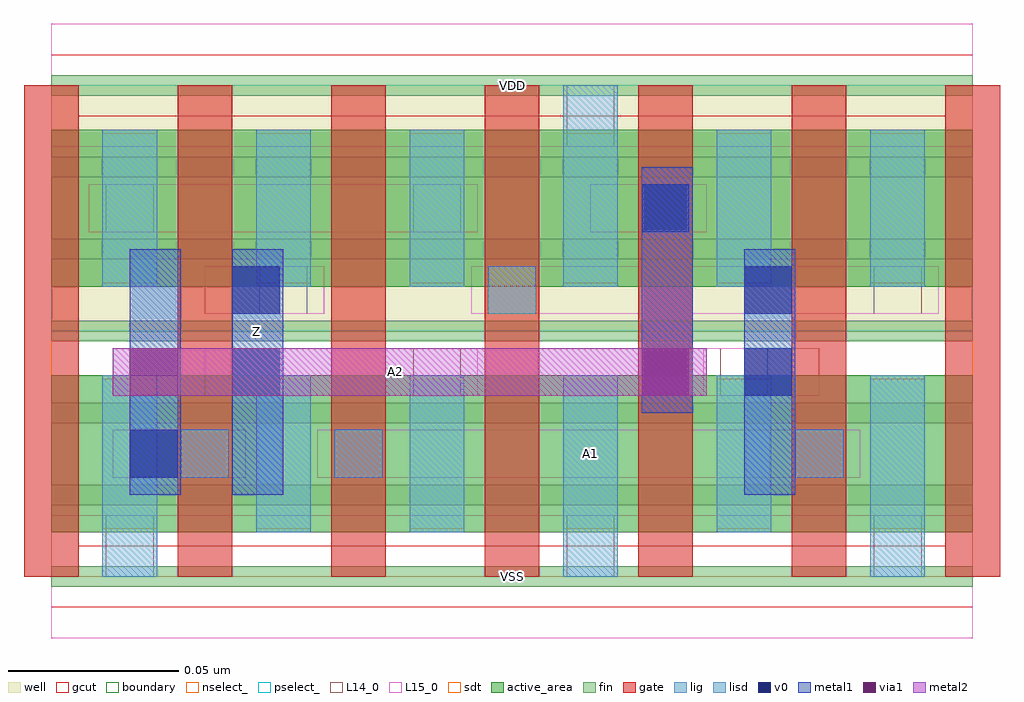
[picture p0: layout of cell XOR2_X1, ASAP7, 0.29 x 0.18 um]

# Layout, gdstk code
import gdstk
lib = gdstk.Library(unit=1e-6, precision=1e-09)
def R(c, l, rs):  # rectangles x0, y0, x1, y1
    for r in rs: c.add(gdstk.rectangle(r[:2], r[2:], *l))
def A(c, l, x, y, w, h, nx, ny, dx, dy):  # array of equal rectangles
    R(c, l, [(x+i*dx, y+j*dy, x+i*dx+w, y+j*dy+h) for i in range(nx) for j in range(ny)])
def P(c, l, *ps):  # polygons
    for p in ps: c.add(gdstk.Polygon(p, *l))
well = (1, 0)
fin = (2, 0)
gate = (7, 0)
gcut = (10, 0)
active_area = (11, 0)
nselect_ = (12, 0)
pselect_ = (13, 0)
L14_0 = (14, 0)
L15_0 = (15, 0)
lig = (16, 0)
lisd = (17, 0)
v0 = (18, 0)
metal1 = (19, 0)
metal2 = (20, 0)
via1 = (21, 0)
sdt = (88, 0)
boundary = (100, 0)

xor2_x1 = lib.new_cell('XOR2_X1')
R(xor2_x1, well, [(0,0.072,0.27,0.144)])
A(xor2_x1, fin, 0, -0.003, 0.27, 0.006, 1, 7, 0, 0.024)
A(xor2_x1, gate, -0.008, 0, 0.016, 0.144, 7, 1, 0.045, 0)
P(xor2_x1, gcut, [(0,-0.009),(0,0),(-0.008,0),(-0.008,0.135),(0.008,0.135),(0.008,0.009),(0.262,0.009),(0.262,0.135),(-0.008,0.135),(-0.008,0.144),(0,0.144),(0,0.153),(0.27,0.153),(0.27,0.144),(0.278,0.144),(0.278,0),(0.27,0),(0.27,-0.009)])
R(xor2_x1, active_area, [(0,0.013,0.27,0.059), (0,0.085,0.27,0.131)])
R(xor2_x1, nselect_, [(0,0,0.27,0.072)])
R(xor2_x1, pselect_, [(0,0.072,0.27,0.144)])
R(xor2_x1, L14_0, [(0.016,0,0.03,0.018), (0.151,0,0.165,0.018), (0.241,0,0.255,0.018), (0.038,0.029,0.052,0.043), (0.083,0.029,0.097,0.043), (0.218,0.029,0.232,0.043), (0.106,0.053,0.12,0.067), (0.196,0.053,0.21,0.067), (0.061,0.077,0.075,0.091), (0.128,0.077,0.142,0.091), (0.241,0.077,0.255,0.091), (0.016,0.101,0.03,0.115), (0.106,0.101,0.12,0.115), (0.173,0.101,0.187,0.115), (0.151,0.126,0.165,0.144)])
R(xor2_x1, L15_0, [(0,-0.018,0.27,0.018), (0.018,0.029,0.057,0.043), (0.078,0.029,0.237,0.043), (0.045,0.053,0.125,0.067), (0.191,0.053,0.225,0.067), (0.045,0.077,0.08,0.091), (0.123,0.077,0.26,0.091), (0.011,0.101,0.125,0.115), (0.158,0.101,0.192,0.115), (0,0.126,0.27,0.162)])
R(xor2_x1, lig, [(0.038,0.029,0.052,0.043), (0.083,0.029,0.097,0.043), (0.218,0.029,0.232,0.043), (0.128,0.077,0.142,0.091), (0.173,0.101,0.187,0.115)])
A(xor2_x1, lisd, 0.015, 0.085, 0.016, 0.046, 3, 1, 0.045, 0)
R(xor2_x1, lisd, [(0.015,0,0.031,0.059), (0.15,0,0.166,0.059), (0.24,0,0.256,0.059), (0.06,0.013,0.076,0.059), (0.105,0.013,0.121,0.059), (0.195,0.013,0.211,0.059), (0.15,0.085,0.166,0.144), (0.195,0.085,0.211,0.131), (0.24,0.085,0.256,0.131)])
R(xor2_x1, v0, [(0.023,0.029,0.037,0.043), (0.053,0.053,0.067,0.067), (0.203,0.053,0.217,0.067), (0.053,0.077,0.067,0.091), (0.203,0.077,0.217,0.091), (0.173,0.101,0.187,0.115)])
R(xor2_x1, metal1, [(0.023,0.024,0.038,0.096), (0.053,0.024,0.068,0.096), (0.203,0.024,0.218,0.096), (0.173,0.048,0.188,0.12)])
R(xor2_x1, metal2, [(0.018,0.053,0.192,0.067)])
R(xor2_x1, via1, [(0.023,0.053,0.037,0.067), (0.173,0.053,0.187,0.067)])
A(xor2_x1, sdt, 0.015, 0.014, 0.016, 0.044, 6, 2, 0.045, 0.072)
R(xor2_x1, boundary, [(0,0,0.27,0.144)])
xor2_x1.add(gdstk.Label('VSS', (0.135,0), layer=15, texttype=251))
xor2_x1.add(gdstk.Label('VDD', (0.135,0.144), layer=15, texttype=251))
xor2_x1.add(gdstk.Label('A1', (0.158,0.036), layer=15, texttype=251))
xor2_x1.add(gdstk.Label('VSS', (0.135,0), layer=15, texttype=251))
xor2_x1.add(gdstk.Label('VDD', (0.135,0.144), layer=15, texttype=251))
xor2_x1.add(gdstk.Label('VSS', (0.135,0), layer=15, texttype=251))
xor2_x1.add(gdstk.Label('VDD', (0.135,0.144), layer=15, texttype=251))
xor2_x1.add(gdstk.Label('VSS', (0.135,0), layer=3, texttype=251))
xor2_x1.add(gdstk.Label('VSS', (0.135,0), layer=3, texttype=251))
xor2_x1.add(gdstk.Label('VSS', (0.135,0), layer=3, texttype=251))
xor2_x1.add(gdstk.Label('VDD', (0.135,0.144), layer=1, texttype=251))
xor2_x1.add(gdstk.Label('VDD', (0.135,0.144), layer=1, texttype=251))
xor2_x1.add(gdstk.Label('VDD', (0.135,0.144), layer=1, texttype=251))
xor2_x1.add(gdstk.Label('Z', (0.06,0.072), layer=19, texttype=251))
xor2_x1.add(gdstk.Label('A2', (0.101,0.06), layer=20, texttype=251))

lib.write_gds('XOR2_X1.gds')
